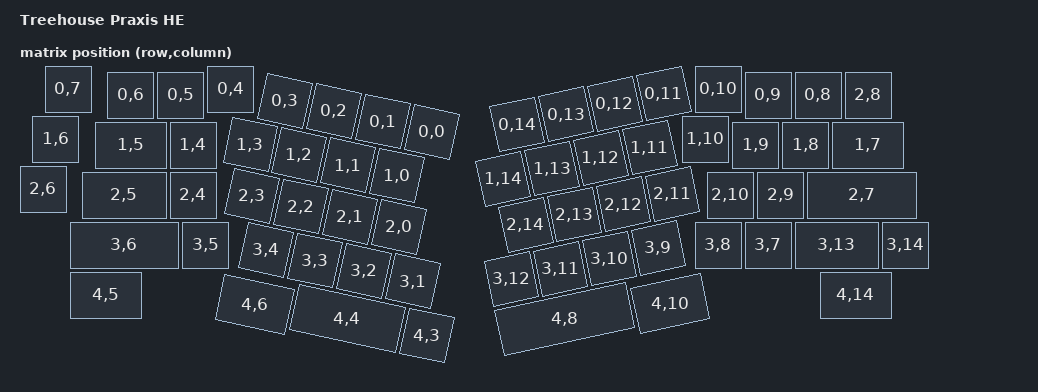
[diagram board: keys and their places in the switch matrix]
/*
 * Copyright (c) 2025 Peter Johanson
 *
 * SPDX-License-Identifier: MIT
 */

/dts-v1/;
#include <st/f4/stm32f411Xe.dtsi>
#include <st/f4/stm32f411c(c-e)ux-pinctrl.dtsi>

#include <zephyr/dt-bindings/dt-util.h>
#include <dt-bindings/led/led.h>

#include <dt-bindings/zmk/matrix_transform.h>
#include <physical_layouts.dtsi>

/ {
	model = "Treehouse Praxis HE";
	compatible = "treehouse,praxis-he";

	chosen {
		zephyr,sram = &sram0;
		zephyr,flash = &flash0;
		zephyr,boot-mode = &retention0;
		/* Disabled until upstream driver is available
		zmk,underglow = &led_strip;
		*/
	};

	aliases {
		volt-sensor0 = &vref;
		volt-sensor1 = &vbat;
	};

	mux: mux {
		compatible = "zmk,gpio-mux";
		
		select-gpios
		    = <&gpiob 14 GPIO_ACTIVE_HIGH>
		    , <&gpiob 13 GPIO_ACTIVE_HIGH>
		    , <&gpiob 10 GPIO_ACTIVE_HIGH>
		    , <&gpiob 1  GPIO_ACTIVE_HIGH>
		    ;
		
		en-gpios = <&gpiob 12 GPIO_ACTIVE_LOW>;
		
		gpio-controller;
		ngpios = <16>;
		#gpio-cells = <2>;
	};

	matrix: matrix {
		compatible = "zmk,kscan-he-matrix";
		skip-startup-calibration;
		active-polling-interval-ms = <0>;

		select-gpios
			= <&mux 0 0>
			, <&mux 1 0>
			, <&mux 2 0>
			, <&mux 3 0>
			, <&mux 4 0>
			, <&mux 5 0>
			, <&mux 6 0>
			, <&mux 7 0>
			, <&mux 8 0>
			, <&mux 9 0>
			, <&mux 10 0>
			, <&mux 11 0>
			, <&mux 12 0>
			, <&mux 13 0>
			, <&mux 14 0>
			;
		io-channels = <&adc1 0 &adc1 1 &adc1 2 &adc1 3 &adc1 4>;
		channel-select-masks = <0>, <0>, <0>, <(BIT(0))>, <(BIT(0) + BIT(1) + BIT(2) + BIT(7) + BIT(9) + BIT(11) + BIT(12) + BIT(13))>;
		high-threshold-noise-mult = <3>;
	};

	transform: transform {
		compatible = "zmk,matrix-transform";
		rows = <5>;
		columns = <15>;
		
		map = <
		  RC(0,7) RC(0,6) RC(0,5)  RC(0,4) RC(0,3) RC(0,2) RC(0,1) RC(0,0)           RC(0,14) RC(0,13) RC(0,12) RC(0,11) RC(0,10) RC(0,9) RC(0,8)   RC(2,8)
		 RC(1,6)  RC(1,5) RC(1,4) RC(1,3) RC(1,2) RC(1,1) RC(1,0)              RC(1,14) RC(1,13) RC(1,12) RC(1,11) RC(1,10) RC(1,9) RC(1,8)  RC(1,7)
		RC(2,6)  RC(2,5) RC(2,4) RC(2,3) RC(2,2) RC(2,1) RC(2,0)                RC(2,14) RC(2,13) RC(2,12) RC(2,11) RC(2,10) RC(2,9)     RC(2,7)
		          RC(3,6) RC(3,5) RC(3,4) RC(3,3) RC(3,2) RC(3,1)             RC(3,12) RC(3,11) RC(3,10) RC(3,9) RC(3,8) RC(3,7) RC(3,13) RC(3,14)
		        RC(4,5)           RC(4,6)     RC(4,4)      RC(4,3)                           RC(4,8) RC(4,10) RC(4,14)
		>;
    };

	layout: layout {
		compatible = "zmk,physical-layout";
		display-name = "Standard";
		transform = <&transform>;
		kscan = <&matrix>;
		keys  //                     w   h    x    y     rot    rx    ry
		   = <&key_physical_attrs 100 100   50   13       0     0     0>
		   , <&key_physical_attrs 100 100  175   25       0     0     0>
		   , <&key_physical_attrs 100 100  275   25       0     0     0>
		   , <&key_physical_attrs 100 100  375   13       0     0     0>
		   , <&key_physical_attrs 100 100  475   25    1200   475   125>
		   , <&key_physical_attrs 100 100  575   25    1200   475   125>
		   , <&key_physical_attrs 100 100  675   25    1200   475   125>
		   , <&key_physical_attrs 100 100  775   25    1200   475   125>
		   , <&key_physical_attrs 100 100  950    0 (-1200)  1400   100>
		   , <&key_physical_attrs 100 100 1050    0 (-1200)  1400   100>
		   , <&key_physical_attrs 100 100 1150    0 (-1200)  1400   100>
		   , <&key_physical_attrs 100 100 1250    0 (-1200)  1400   100>
		   , <&key_physical_attrs 100 100 1350   13       0     0     0>
		   , <&key_physical_attrs 100 100 1450   25       0     0     0>
		   , <&key_physical_attrs 100 100 1550   25       0     0     0>
		   , <&key_physical_attrs 100 100 1650   25       0     0     0>
		   , <&key_physical_attrs 100 100   25  113       0     0     0>
		   , <&key_physical_attrs 150 100  150  125       0     0     0>
		   , <&key_physical_attrs 100 100  300  125       0     0     0>
		   , <&key_physical_attrs 100 100  425  125    1200   475   125>
		   , <&key_physical_attrs 100 100  525  125    1200   475   125>
		   , <&key_physical_attrs 100 100  625  125    1200   475   125>
		   , <&key_physical_attrs 100 100  725  125    1200   475   125>
		   , <&key_physical_attrs 100 100  900  100 (-1200)  1400   100>
		   , <&key_physical_attrs 100 100 1000  100 (-1200)  1400   100>
		   , <&key_physical_attrs 100 100 1100  100 (-1200)  1400   100>
		   , <&key_physical_attrs 100 100 1200  100 (-1200)  1400   100>
		   , <&key_physical_attrs 100 100 1325  113       0     0     0>
		   , <&key_physical_attrs 100 100 1425  125       0     0     0>
		   , <&key_physical_attrs 100 100 1525  125       0     0     0>
		   , <&key_physical_attrs 150 100 1625  125       0     0     0>
		   , <&key_physical_attrs 100 100    0  213       0     0     0>
		   , <&key_physical_attrs 175 100  125  225       0     0     0>
		   , <&key_physical_attrs 100 100  300  225       0     0     0>
		   , <&key_physical_attrs 100 100  450  225    1200   475   125>
		   , <&key_physical_attrs 100 100  550  225    1200   475   125>
		   , <&key_physical_attrs 100 100  650  225    1200   475   125>
		   , <&key_physical_attrs 100 100  750  225    1200   475   125>
		   , <&key_physical_attrs 100 100  925  200 (-1200)  1400   100>
		   , <&key_physical_attrs 100 100 1025  200 (-1200)  1400   100>
		   , <&key_physical_attrs 100 100 1125  200 (-1200)  1400   100>
		   , <&key_physical_attrs 100 100 1225  200 (-1200)  1400   100>
		   , <&key_physical_attrs 100 100 1375  225       0     0     0>
		   , <&key_physical_attrs 100 100 1475  225       0     0     0>
		   , <&key_physical_attrs 225 100 1575  225       0     0     0>
		   , <&key_physical_attrs 225 100  100  325       0     0     0>
		   , <&key_physical_attrs 100 100  325  325       0     0     0>
		   , <&key_physical_attrs 100 100  500  325    1200   475   125>
		   , <&key_physical_attrs 100 100  600  325    1200   475   125>
		   , <&key_physical_attrs 100 100  700  325    1200   475   125>
		   , <&key_physical_attrs 100 100  800  325    1200   475   125>
		   , <&key_physical_attrs 100 100  875  300 (-1200)  1400   100>
		   , <&key_physical_attrs 100 100  975  300 (-1200)  1400   100>
		   , <&key_physical_attrs 100 100 1075  300 (-1200)  1400   100>
		   , <&key_physical_attrs 100 100 1175  300 (-1200)  1400   100>
		   , <&key_physical_attrs 100 100 1350  325       0     0     0>
		   , <&key_physical_attrs 100 100 1450  325       0     0     0>
		   , <&key_physical_attrs 175 100 1550  325       0     0     0>
		   , <&key_physical_attrs 100 100 1725  325       0     0     0>
		   , <&key_physical_attrs 150 100  100  425       0     0     0>
		   , <&key_physical_attrs 150 100  475  437    1200   475   125>
		   , <&key_physical_attrs 225 100  625  425    1200   475   125>
		   , <&key_physical_attrs 100 100  850  425    1200   475   125>
		   , <&key_physical_attrs 275 100  875  400 (-1200)  1400   100>
		   , <&key_physical_attrs 150 100 1150  413 (-1200)  1400   100>
		   , <&key_physical_attrs 150 100 1600  425       0     0     0>
		   ;
	};
};

&usart1 {
	pinctrl-0 = <&usart1_tx_pa9 &usart1_rx_pa10>;
	pinctrl-names = "default";
	current-speed = <115200>;
};

#if 0

&timers1 {
	status = "okay";

	led_pwm: pwm {
		status = "okay";
		pinctrl-0 = <&tim1_ch3n_pb15>;
		pinctrl-names = "default";
	};
};

/ {
	led_strip: ws2812 {
		compatible = "worldsemi,ws2812-stm32-timer";
		pwms = <&led_pwm 3 0 (PWM_POLARITY_NORMAL | STM32_PWM_COMPLEMENTARY)>;
		dmas = <&dma2 6 6 (STM32_DMA_PERIPH_TX | STM32_DMA_MEM_16BITS | STM32_DMA_PERIPH_16BITS) STM32_DMA_FIFO_FULL>;
		dma-names = "tx";

		/* WS2812 */
		code-period-ns = <1500>;
		reset-codes = <70>;
		zero-high-ns = <320>;
		one-high-ns = <640>;
		chain-length = <3>;
		color-mapping = <LED_COLOR_ID_GREEN
				 LED_COLOR_ID_RED
				 LED_COLOR_ID_BLUE>;
	};
};

#endif

&spi1 {
	pinctrl-0 = <&spi1_mosi_pa7 &spi1_miso_pa6 &spi1_sck_pa5>;
	cs-gpios = <&gpiob 0 GPIO_ACTIVE_LOW>;
	pinctrl-names = "default";
	status = "okay";

	w25q128jvs: w25q128jvs@0 {
		compatible = "jedec,spi-nor";
		/* 134217728 bits = 16 Mbytes */
		size = <DT_SIZE_M(16)>;
		reg = <0>;
		/* Fastest clock we can do on F411, fPCLK/2 */
		spi-max-frequency = <DT_FREQ_M(24)>;
		jedec-id = [ef 40 18];
		status = "okay";

		partitions {
			compatible = "fixed-partitions";
			#address-cells = <1>;
			#size-cells = <1>;

			storage_partition: partition@0 {
				label = "storage";
				reg = <0x00000000 DT_SIZE_M(8)>;
			};
		};
	};
};

zephyr_udc0: &usbotg_fs {
	pinctrl-0 = <&usb_otg_fs_dm_pa11 &usb_otg_fs_dp_pa12>;
	pinctrl-names = "default";
	status = "okay";
};

&dma2 {
	status = "okay";
};

&adc1 {
	pinctrl-0 = <&adc1_in0_pa0 &adc1_in1_pa1 &adc1_in2_pa2 &adc1_in3_pa3 &adc1_in4_pa4>;
	pinctrl-names = "default";

	dmas = <&dma2 0 0 (STM32_DMA_PERIPH_RX |  STM32_DMA_MEM_16BITS | STM32_DMA_PERIPH_16BITS) STM32_DMA_FIFO_FULL>;
	dma-names = "dma";

	st,adc-clock-source = "SYNC";
	st,adc-prescaler = <4>;
	status = "okay";

	#address-cells = <1>;
	#size-cells = <0>;

	channel@0 {
		reg = <0>;
		zephyr,gain = "ADC_GAIN_1";
		zephyr,reference = "ADC_REF_INTERNAL";
		zephyr,acquisition-time = <ADC_ACQ_TIME_DEFAULT>;
		zephyr,resolution = <12>;
	};

	channel@1 {
		reg = <1>;
		zephyr,gain = "ADC_GAIN_1";
		zephyr,reference = "ADC_REF_INTERNAL";
		zephyr,acquisition-time = <ADC_ACQ_TIME_DEFAULT>;
		zephyr,resolution = <12>;
	};

	channel@2 {
		reg = <2>;
		zephyr,gain = "ADC_GAIN_1";
		zephyr,reference = "ADC_REF_INTERNAL";
		zephyr,acquisition-time = <ADC_ACQ_TIME_DEFAULT>;
		zephyr,resolution = <12>;
	};

	channel@3 {
		reg = <3>;
		zephyr,gain = "ADC_GAIN_1";
		zephyr,reference = "ADC_REF_INTERNAL";
		zephyr,acquisition-time = <ADC_ACQ_TIME_DEFAULT>;
		zephyr,resolution = <12>;
	};

	channel@4 {
		reg = <4>;
		zephyr,gain = "ADC_GAIN_1";
		zephyr,reference = "ADC_REF_INTERNAL";
		zephyr,acquisition-time = <ADC_ACQ_TIME_DEFAULT>;
		zephyr,resolution = <12>;
	};
};

&clk_lsi {
	status = "okay";
};

&clk_hse {
	clock-frequency = <DT_FREQ_M(8)>;
	status = "okay";
};

&pll {
	div-m = <4>;
	mul-n = <96>;
	div-p = <2>;
	div-q = <4>;
	clocks = <&clk_hse>;
	status = "okay";
};

&rcc {
	clocks = <&pll>;
	clock-frequency = <DT_FREQ_M(96)>;
	ahb-prescaler = <1>;
	apb1-prescaler = <2>;
	apb2-prescaler = <1>;
};

&rtc {
	clocks = <&rcc STM32_CLOCK_BUS_APB1 0x10000000>,
		 <&rcc STM32_SRC_LSI RTC_SEL(2)>;
	status = "okay";

	backup_regs {
		status = "okay";
	};
};

&bbram {
	status = "okay";

	retainedmem0: retainedmem {
		compatible = "zephyr,retained-bbram";
		status = "okay";
                #address-cells = <1>;
                #size-cells = <1>;

                retention0: retention@0 {
                        compatible = "zephyr,retention";
                        status = "okay";
                        reg = <0x0 0x1>;
                };
	};
};
